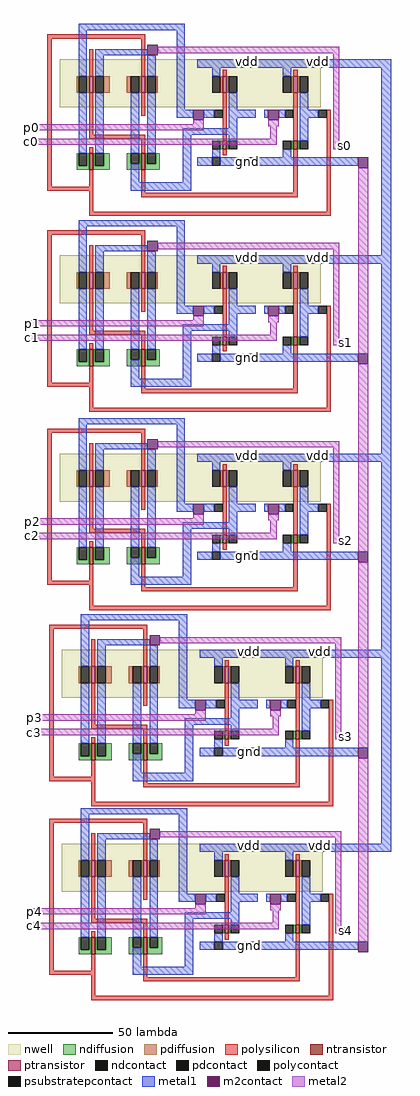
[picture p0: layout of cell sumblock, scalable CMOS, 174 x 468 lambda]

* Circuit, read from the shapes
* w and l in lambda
.subckt sumblock c0 c1 c2 c3 c4 gnd p0 p1 p2 p3 p4 s0 s1 s2 s3 s4 vdd
M1 s2 n1 p2 gnd nfet w=8 l=2
M2 s1 n2 p1 gnd nfet w=8 l=2
M3 s0 n3 p0 gnd nfet w=8 l=2
M4 s4 n4 p4 gnd nfet w=8 l=2
M5 s3 n5 p3 gnd nfet w=8 l=2
M6 s2 c2 n6 gnd nfet w=8 l=2
M7 s1 c1 n7 gnd nfet w=8 l=2
M8 s0 c0 n8 gnd nfet w=8 l=2
M9 s4 c4 n9 gnd nfet w=8 l=2
M10 s3 c3 n10 gnd nfet w=8 l=2
M11 n6 p2 gnd gnd nfet w=4 l=2
M12 n7 p1 gnd gnd nfet w=4 l=2
M13 n8 p0 gnd gnd nfet w=4 l=2
M14 n9 p4 gnd gnd nfet w=4 l=2
M15 n10 p3 gnd gnd nfet w=4 l=2
M16 n1 c2 gnd gnd nfet w=4 l=2
M17 n2 c1 gnd gnd nfet w=4 l=2
M18 n3 c0 gnd gnd nfet w=4 l=2
M19 n4 c4 gnd gnd nfet w=4 l=2
M20 n5 c3 gnd gnd nfet w=4 l=2
M21 s2 c2 p2 n11 pfet w=8 l=2
M22 s1 c1 p1 n12 pfet w=8 l=2
M23 s0 c0 p0 n13 pfet w=8 l=2
M24 s4 c4 p4 n14 pfet w=8 l=2
M25 s3 c3 p3 n15 pfet w=8 l=2
M26 s2 n1 n6 n11 pfet w=8 l=2
M27 s1 n2 n7 n12 pfet w=8 l=2
M28 s0 n3 n8 n13 pfet w=8 l=2
M29 s4 n4 n9 n14 pfet w=8 l=2
M30 s3 n5 n10 n15 pfet w=8 l=2
M31 n6 p2 vdd n11 pfet w=8 l=2
M32 n7 p1 vdd n12 pfet w=8 l=2
M33 n8 p0 vdd n13 pfet w=8 l=2
M34 n9 p4 vdd n14 pfet w=8 l=2
M35 n10 p3 vdd n15 pfet w=8 l=2
M36 n1 c2 vdd n11 pfet w=8 l=2
M37 n2 c1 vdd n12 pfet w=8 l=2
M38 n3 c0 vdd n13 pfet w=8 l=2
M39 n4 c4 vdd n14 pfet w=8 l=2
M40 n5 c3 vdd n15 pfet w=8 l=2
.ends

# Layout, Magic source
magic
tech scmos
<< nwell >>
rect 5 52 130 75
rect 5 -42 130 -19
rect 5 -137 130 -114
rect 6 -231 131 -208
rect 6 -324 131 -301
<< ntransistor >>
rect 83 32 85 36
rect 117 32 119 36
rect 19 22 21 30
rect 44 22 46 30
rect 83 -62 85 -58
rect 117 -62 119 -58
rect 19 -72 21 -64
rect 44 -72 46 -64
rect 83 -157 85 -153
rect 117 -157 119 -153
rect 19 -167 21 -159
rect 44 -167 46 -159
rect 84 -251 86 -247
rect 118 -251 120 -247
rect 20 -261 22 -253
rect 45 -261 47 -253
rect 84 -344 86 -340
rect 118 -344 120 -340
rect 20 -354 22 -346
rect 45 -354 47 -346
<< ptransistor >>
rect 19 59 21 67
rect 44 59 46 67
rect 83 59 85 67
rect 117 59 119 67
rect 19 -35 21 -27
rect 44 -35 46 -27
rect 83 -35 85 -27
rect 117 -35 119 -27
rect 19 -130 21 -122
rect 44 -130 46 -122
rect 83 -130 85 -122
rect 117 -130 119 -122
rect 20 -224 22 -216
rect 45 -224 47 -216
rect 84 -224 86 -216
rect 118 -224 120 -216
rect 20 -317 22 -309
rect 45 -317 47 -309
rect 84 -317 86 -309
rect 118 -317 120 -309
<< ndiffusion >>
rect 82 32 83 36
rect 85 32 86 36
rect 116 32 117 36
rect 119 32 120 36
rect 13 24 14 30
rect 18 24 19 30
rect 13 22 19 24
rect 21 24 22 30
rect 26 24 29 30
rect 21 22 29 24
rect 37 25 39 30
rect 43 25 44 30
rect 37 22 44 25
rect 46 25 47 30
rect 51 25 53 30
rect 46 22 53 25
rect 82 -62 83 -58
rect 85 -62 86 -58
rect 116 -62 117 -58
rect 119 -62 120 -58
rect 13 -70 14 -64
rect 18 -70 19 -64
rect 13 -72 19 -70
rect 21 -70 22 -64
rect 26 -70 29 -64
rect 21 -72 29 -70
rect 37 -69 39 -64
rect 43 -69 44 -64
rect 37 -72 44 -69
rect 46 -69 47 -64
rect 51 -69 53 -64
rect 46 -72 53 -69
rect 82 -157 83 -153
rect 85 -157 86 -153
rect 116 -157 117 -153
rect 119 -157 120 -153
rect 13 -165 14 -159
rect 18 -165 19 -159
rect 13 -167 19 -165
rect 21 -165 22 -159
rect 26 -165 29 -159
rect 21 -167 29 -165
rect 37 -164 39 -159
rect 43 -164 44 -159
rect 37 -167 44 -164
rect 46 -164 47 -159
rect 51 -164 53 -159
rect 46 -167 53 -164
rect 83 -251 84 -247
rect 86 -251 87 -247
rect 117 -251 118 -247
rect 120 -251 121 -247
rect 14 -259 15 -253
rect 19 -259 20 -253
rect 14 -261 20 -259
rect 22 -259 23 -253
rect 27 -259 30 -253
rect 22 -261 30 -259
rect 38 -258 40 -253
rect 44 -258 45 -253
rect 38 -261 45 -258
rect 47 -258 48 -253
rect 52 -258 54 -253
rect 47 -261 54 -258
rect 83 -344 84 -340
rect 86 -344 87 -340
rect 117 -344 118 -340
rect 120 -344 121 -340
rect 14 -352 15 -346
rect 19 -352 20 -346
rect 14 -354 20 -352
rect 22 -352 23 -346
rect 27 -352 30 -346
rect 22 -354 30 -352
rect 38 -351 40 -346
rect 44 -351 45 -346
rect 38 -354 45 -351
rect 47 -351 48 -346
rect 52 -351 54 -346
rect 47 -354 54 -351
<< pdiffusion >>
rect 13 59 14 67
rect 18 59 19 67
rect 21 59 22 67
rect 26 59 29 67
rect 37 59 39 67
rect 43 59 44 67
rect 46 59 47 67
rect 51 59 52 67
rect 82 59 83 67
rect 85 59 86 67
rect 116 59 117 67
rect 119 59 120 67
rect 13 -35 14 -27
rect 18 -35 19 -27
rect 21 -35 22 -27
rect 26 -35 29 -27
rect 37 -35 39 -27
rect 43 -35 44 -27
rect 46 -35 47 -27
rect 51 -35 52 -27
rect 82 -35 83 -27
rect 85 -35 86 -27
rect 116 -35 117 -27
rect 119 -35 120 -27
rect 13 -130 14 -122
rect 18 -130 19 -122
rect 21 -130 22 -122
rect 26 -130 29 -122
rect 37 -130 39 -122
rect 43 -130 44 -122
rect 46 -130 47 -122
rect 51 -130 52 -122
rect 82 -130 83 -122
rect 85 -130 86 -122
rect 116 -130 117 -122
rect 119 -130 120 -122
rect 14 -224 15 -216
rect 19 -224 20 -216
rect 22 -224 23 -216
rect 27 -224 30 -216
rect 38 -224 40 -216
rect 44 -224 45 -216
rect 47 -224 48 -216
rect 52 -224 53 -216
rect 83 -224 84 -216
rect 86 -224 87 -216
rect 117 -224 118 -216
rect 120 -224 121 -216
rect 14 -317 15 -309
rect 19 -317 20 -309
rect 22 -317 23 -309
rect 27 -317 30 -309
rect 38 -317 40 -309
rect 44 -317 45 -309
rect 47 -317 48 -309
rect 52 -317 53 -309
rect 83 -317 84 -309
rect 86 -317 87 -309
rect 117 -317 118 -309
rect 120 -317 121 -309
<< ndcontact >>
rect 78 32 82 36
rect 86 32 90 36
rect 112 32 116 36
rect 120 32 124 36
rect 14 24 18 30
rect 22 24 26 30
rect 39 25 43 30
rect 47 25 51 30
rect 78 -62 82 -58
rect 86 -62 90 -58
rect 112 -62 116 -58
rect 120 -62 124 -58
rect 14 -70 18 -64
rect 22 -70 26 -64
rect 39 -69 43 -64
rect 47 -69 51 -64
rect 78 -157 82 -153
rect 86 -157 90 -153
rect 112 -157 116 -153
rect 120 -157 124 -153
rect 14 -165 18 -159
rect 22 -165 26 -159
rect 39 -164 43 -159
rect 47 -164 51 -159
rect 79 -251 83 -247
rect 87 -251 91 -247
rect 113 -251 117 -247
rect 121 -251 125 -247
rect 15 -259 19 -253
rect 23 -259 27 -253
rect 40 -258 44 -253
rect 48 -258 52 -253
rect 79 -344 83 -340
rect 87 -344 91 -340
rect 113 -344 117 -340
rect 121 -344 125 -340
rect 15 -352 19 -346
rect 23 -352 27 -346
rect 40 -351 44 -346
rect 48 -351 52 -346
<< pdcontact >>
rect 14 59 18 67
rect 22 59 26 67
rect 39 59 43 67
rect 47 59 51 67
rect 78 59 82 67
rect 86 59 90 67
rect 112 59 116 67
rect 120 59 124 67
rect 14 -35 18 -27
rect 22 -35 26 -27
rect 39 -35 43 -27
rect 47 -35 51 -27
rect 78 -35 82 -27
rect 86 -35 90 -27
rect 112 -35 116 -27
rect 120 -35 124 -27
rect 14 -130 18 -122
rect 22 -130 26 -122
rect 39 -130 43 -122
rect 47 -130 51 -122
rect 78 -130 82 -122
rect 86 -130 90 -122
rect 112 -130 116 -122
rect 120 -130 124 -122
rect 15 -224 19 -216
rect 23 -224 27 -216
rect 40 -224 44 -216
rect 48 -224 52 -216
rect 79 -224 83 -216
rect 87 -224 91 -216
rect 113 -224 117 -216
rect 121 -224 125 -216
rect 15 -317 19 -309
rect 23 -317 27 -309
rect 40 -317 44 -309
rect 48 -317 52 -309
rect 79 -317 83 -309
rect 87 -317 91 -309
rect 113 -317 117 -309
rect 121 -317 125 -309
<< psubstratepcontact >>
rect 78 24 82 28
rect 95 24 99 28
rect 78 -70 82 -66
rect 95 -70 99 -66
rect 78 -165 82 -161
rect 95 -165 99 -161
rect 79 -259 83 -255
rect 96 -259 100 -255
rect 79 -352 83 -348
rect 96 -352 100 -348
<< polysilicon >>
rect -1 85 46 87
rect -1 14 1 85
rect 19 67 21 80
rect 44 67 46 85
rect 83 67 85 70
rect 117 67 119 70
rect 19 39 21 59
rect 44 48 46 59
rect 19 37 46 39
rect 19 30 21 33
rect 44 30 46 37
rect 83 36 85 59
rect 117 36 119 59
rect 83 29 85 32
rect 19 14 21 22
rect -1 12 21 14
rect 19 2 21 12
rect 44 11 46 22
rect 117 11 119 32
rect 44 9 119 11
rect 133 2 135 51
rect 19 0 135 2
rect -1 -9 46 -7
rect -1 -80 1 -9
rect 19 -27 21 -14
rect 44 -27 46 -9
rect 83 -27 85 -24
rect 117 -27 119 -24
rect 19 -55 21 -35
rect 44 -46 46 -35
rect 19 -57 46 -55
rect 19 -64 21 -61
rect 44 -64 46 -57
rect 83 -58 85 -35
rect 117 -58 119 -35
rect 83 -65 85 -62
rect 19 -80 21 -72
rect -1 -82 21 -80
rect 19 -92 21 -82
rect 44 -83 46 -72
rect 117 -83 119 -62
rect 44 -85 119 -83
rect 133 -92 135 -43
rect 19 -94 135 -92
rect -1 -104 46 -102
rect -1 -175 1 -104
rect 19 -122 21 -109
rect 44 -122 46 -104
rect 83 -122 85 -119
rect 117 -122 119 -119
rect 19 -150 21 -130
rect 44 -141 46 -130
rect 19 -152 46 -150
rect 19 -159 21 -156
rect 44 -159 46 -152
rect 83 -153 85 -130
rect 117 -153 119 -130
rect 83 -160 85 -157
rect 19 -175 21 -167
rect -1 -177 21 -175
rect 19 -187 21 -177
rect 44 -178 46 -167
rect 117 -178 119 -157
rect 44 -180 119 -178
rect 133 -187 135 -138
rect 19 -189 135 -187
rect 0 -198 47 -196
rect 0 -269 2 -198
rect 20 -216 22 -203
rect 45 -216 47 -198
rect 84 -216 86 -213
rect 118 -216 120 -213
rect 20 -244 22 -224
rect 45 -235 47 -224
rect 20 -246 47 -244
rect 20 -253 22 -250
rect 45 -253 47 -246
rect 84 -247 86 -224
rect 118 -247 120 -224
rect 84 -254 86 -251
rect 20 -269 22 -261
rect 0 -271 22 -269
rect 20 -281 22 -271
rect 45 -272 47 -261
rect 118 -272 120 -251
rect 45 -274 120 -272
rect 134 -281 136 -232
rect 20 -283 136 -281
rect 0 -291 47 -289
rect 0 -362 2 -291
rect 20 -309 22 -296
rect 45 -309 47 -291
rect 84 -309 86 -306
rect 118 -309 120 -306
rect 20 -337 22 -317
rect 45 -328 47 -317
rect 20 -339 47 -337
rect 20 -346 22 -343
rect 45 -346 47 -339
rect 84 -340 86 -317
rect 118 -340 120 -317
rect 84 -347 86 -344
rect 20 -362 22 -354
rect 0 -364 22 -362
rect 20 -374 22 -364
rect 45 -365 47 -354
rect 118 -365 120 -344
rect 45 -367 120 -365
rect 134 -374 136 -325
rect 20 -376 136 -374
<< polycontact >>
rect 79 47 83 51
rect 113 47 117 51
rect 129 47 133 51
rect 79 -47 83 -43
rect 113 -47 117 -43
rect 129 -47 133 -43
rect 79 -142 83 -138
rect 113 -142 117 -138
rect 129 -142 133 -138
rect 80 -236 84 -232
rect 114 -236 118 -232
rect 130 -236 134 -232
rect 80 -329 84 -325
rect 114 -329 118 -325
rect 130 -329 134 -325
<< metal1 >>
rect 14 89 65 92
rect 14 67 18 89
rect 14 30 18 59
rect 22 77 47 80
rect 22 67 26 77
rect 47 67 51 77
rect 22 30 26 59
rect 39 30 43 59
rect 47 30 51 59
rect 61 51 65 89
rect 71 71 164 75
rect 78 67 82 71
rect 112 67 116 71
rect 86 51 90 59
rect 120 51 124 59
rect 61 47 69 51
rect 74 47 79 51
rect 86 47 99 51
rect 103 47 105 51
rect 86 42 90 47
rect 110 47 113 51
rect 120 47 129 51
rect 64 39 90 42
rect 39 16 43 25
rect 64 16 68 39
rect 86 36 90 39
rect 120 36 124 47
rect 78 28 82 32
rect 112 28 116 32
rect 71 24 78 28
rect 82 24 95 28
rect 99 24 148 28
rect 39 12 68 16
rect 14 -5 65 -2
rect 14 -27 18 -5
rect 14 -64 18 -35
rect 22 -17 47 -14
rect 22 -27 26 -17
rect 47 -27 51 -17
rect 22 -64 26 -35
rect 39 -64 43 -35
rect 47 -64 51 -35
rect 61 -43 65 -5
rect 159 -19 164 71
rect 71 -23 164 -19
rect 78 -27 82 -23
rect 112 -27 116 -23
rect 86 -43 90 -35
rect 120 -43 124 -35
rect 61 -47 69 -43
rect 74 -47 79 -43
rect 86 -47 99 -43
rect 103 -47 105 -43
rect 86 -52 90 -47
rect 110 -47 113 -43
rect 120 -47 129 -43
rect 64 -55 90 -52
rect 39 -78 43 -69
rect 64 -78 68 -55
rect 86 -58 90 -55
rect 120 -58 124 -47
rect 78 -66 82 -62
rect 112 -66 116 -62
rect 71 -70 78 -66
rect 82 -70 95 -66
rect 99 -70 148 -66
rect 39 -82 68 -78
rect 14 -100 65 -97
rect 14 -122 18 -100
rect 14 -159 18 -130
rect 22 -112 47 -109
rect 22 -122 26 -112
rect 47 -122 51 -112
rect 22 -159 26 -130
rect 39 -159 43 -130
rect 47 -159 51 -130
rect 61 -138 65 -100
rect 159 -114 164 -23
rect 71 -118 164 -114
rect 78 -122 82 -118
rect 112 -122 116 -118
rect 86 -138 90 -130
rect 120 -138 124 -130
rect 61 -142 69 -138
rect 74 -142 79 -138
rect 86 -142 99 -138
rect 103 -142 105 -138
rect 86 -147 90 -142
rect 110 -142 113 -138
rect 120 -142 129 -138
rect 64 -150 90 -147
rect 39 -173 43 -164
rect 64 -173 68 -150
rect 86 -153 90 -150
rect 120 -153 124 -142
rect 78 -161 82 -157
rect 112 -161 116 -157
rect 71 -165 78 -161
rect 82 -165 95 -161
rect 99 -165 148 -161
rect 39 -177 68 -173
rect 15 -194 66 -191
rect 15 -216 19 -194
rect 15 -253 19 -224
rect 23 -206 48 -203
rect 23 -216 27 -206
rect 48 -216 52 -206
rect 23 -253 27 -224
rect 40 -253 44 -224
rect 48 -253 52 -224
rect 62 -232 66 -194
rect 159 -208 164 -118
rect 72 -212 164 -208
rect 79 -216 83 -212
rect 113 -216 117 -212
rect 87 -232 91 -224
rect 121 -232 125 -224
rect 62 -236 70 -232
rect 75 -236 80 -232
rect 87 -236 100 -232
rect 104 -236 106 -232
rect 87 -241 91 -236
rect 111 -236 114 -232
rect 121 -236 130 -232
rect 65 -244 91 -241
rect 40 -267 44 -258
rect 65 -267 69 -244
rect 87 -247 91 -244
rect 121 -247 125 -236
rect 79 -255 83 -251
rect 113 -255 117 -251
rect 72 -259 79 -255
rect 83 -259 96 -255
rect 100 -259 148 -255
rect 40 -271 69 -267
rect 15 -287 66 -284
rect 15 -309 19 -287
rect 15 -346 19 -317
rect 23 -299 48 -296
rect 23 -309 27 -299
rect 48 -309 52 -299
rect 23 -346 27 -317
rect 40 -346 44 -317
rect 48 -346 52 -317
rect 62 -325 66 -287
rect 159 -301 164 -212
rect 72 -305 164 -301
rect 79 -309 83 -305
rect 113 -309 117 -305
rect 87 -325 91 -317
rect 121 -325 125 -317
rect 62 -329 70 -325
rect 75 -329 80 -325
rect 87 -329 100 -325
rect 104 -329 106 -325
rect 87 -334 91 -329
rect 111 -329 114 -325
rect 121 -329 130 -325
rect 65 -337 91 -334
rect 40 -360 44 -351
rect 65 -360 69 -337
rect 87 -340 91 -337
rect 121 -340 125 -329
rect 79 -348 83 -344
rect 113 -348 117 -344
rect 72 -352 79 -348
rect 83 -352 96 -348
rect 100 -352 148 -348
rect 40 -364 69 -360
<< m2contact >>
rect 47 77 52 82
rect 69 46 74 51
rect 105 46 110 51
rect 148 23 153 28
rect 47 -17 52 -12
rect 69 -48 74 -43
rect 105 -48 110 -43
rect 148 -71 153 -66
rect 47 -112 52 -107
rect 69 -143 74 -138
rect 105 -143 110 -138
rect 148 -166 153 -161
rect 48 -206 53 -201
rect 70 -237 75 -232
rect 106 -237 111 -232
rect 148 -260 153 -255
rect 48 -299 53 -294
rect 70 -330 75 -325
rect 106 -330 111 -325
rect 148 -353 153 -348
<< metal2 >>
rect 52 78 139 81
rect 69 44 74 46
rect -10 41 74 44
rect 105 43 110 46
rect 106 37 109 43
rect -10 34 109 37
rect 136 35 139 78
rect 136 32 144 35
rect 52 -16 139 -13
rect 69 -50 74 -48
rect -10 -53 74 -50
rect 105 -51 110 -48
rect 106 -57 109 -51
rect -10 -60 109 -57
rect 136 -59 139 -16
rect 136 -62 144 -59
rect 148 -66 153 23
rect 52 -111 139 -108
rect 69 -145 74 -143
rect -10 -148 74 -145
rect 105 -146 110 -143
rect 106 -152 109 -146
rect -10 -155 109 -152
rect 136 -154 139 -111
rect 136 -157 144 -154
rect 148 -161 153 -71
rect 53 -205 140 -202
rect 70 -239 75 -237
rect -9 -242 75 -239
rect 106 -240 111 -237
rect 107 -246 110 -240
rect -9 -249 110 -246
rect 137 -248 140 -205
rect 137 -251 144 -248
rect 148 -255 153 -166
rect 53 -298 140 -295
rect 70 -332 75 -330
rect -9 -335 75 -332
rect 106 -333 111 -330
rect 107 -339 110 -333
rect -9 -342 110 -339
rect 137 -341 140 -298
rect 137 -344 144 -341
rect 148 -348 153 -260
<< labels >>
rlabel metal1 95 74 95 74 6 vdd
rlabel metal1 129 74 129 74 6 vdd
rlabel metal1 95 26 95 26 8 gnd
rlabel metal2 -10 41 -7 44 3 p0
rlabel metal2 -10 34 -7 37 3 c0
rlabel metal2 139 32 144 35 7 s0
rlabel metal1 95 -115 95 -115 6 vdd
rlabel metal1 129 -115 129 -115 6 vdd
rlabel metal1 95 -163 95 -163 8 gnd
rlabel metal1 96 -209 96 -209 6 vdd
rlabel metal1 130 -209 130 -209 6 vdd
rlabel metal1 96 -257 96 -257 8 gnd
rlabel metal1 96 -350 96 -350 8 gnd
rlabel metal1 130 -302 130 -302 6 vdd
rlabel metal1 96 -302 96 -302 6 vdd
rlabel metal1 95 -68 95 -68 8 gnd
rlabel metal1 129 -20 129 -20 6 vdd
rlabel metal1 95 -20 95 -20 6 vdd
rlabel metal2 -10 -53 -6 -50 3 p1
rlabel metal2 -10 -148 -6 -145 3 p2
rlabel metal2 -9 -242 -5 -239 3 p3
rlabel metal2 -9 -335 -5 -332 3 p4
rlabel metal2 -10 -60 -6 -57 3 c1
rlabel metal2 -10 -155 -6 -152 3 c2
rlabel metal2 -9 -249 -5 -246 3 c3
rlabel metal2 -9 -342 -5 -339 3 c4
rlabel metal2 140 -62 144 -59 1 s1
rlabel metal2 140 -157 144 -154 1 s2
rlabel metal2 140 -251 144 -248 1 s3
rlabel metal2 140 -344 144 -341 1 s4
<< end >>
